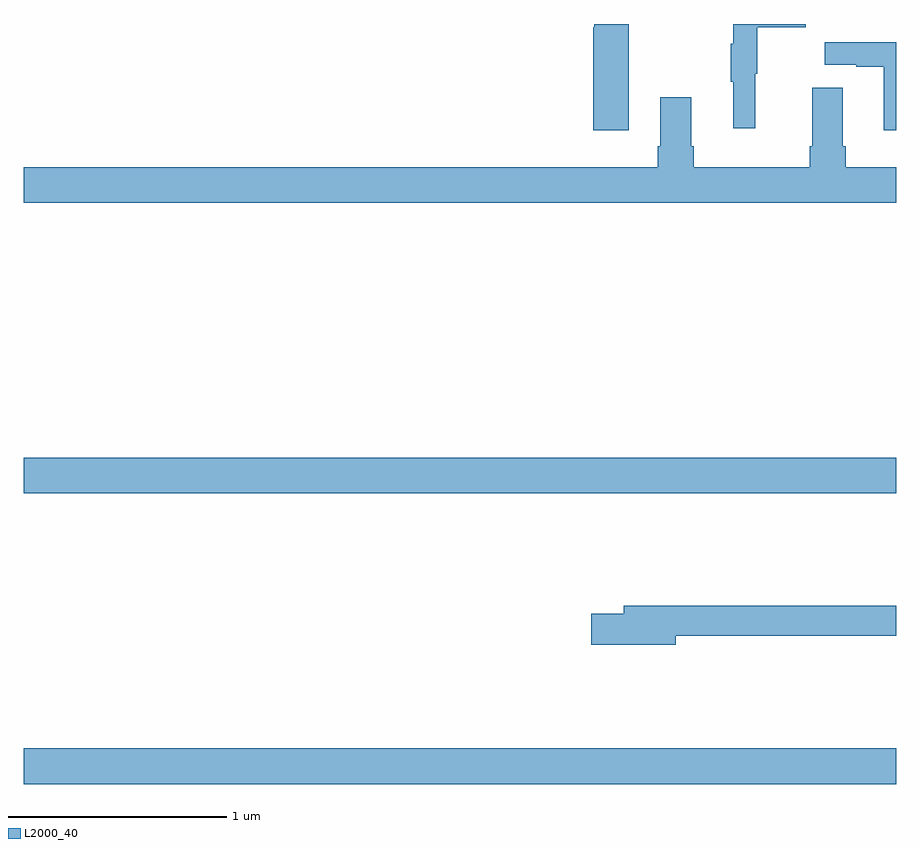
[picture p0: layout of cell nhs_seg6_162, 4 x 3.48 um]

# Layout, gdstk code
import gdstk
lib = gdstk.Library(unit=1e-6, precision=1e-09)
def R(c, l, rs):  # rectangles x0, y0, x1, y1
    for r in rs: c.add(gdstk.rectangle(r[:2], r[2:], *l))
def P(c, l, *ps):  # polygons
    for p in ps: c.add(gdstk.Polygon(p, *l))
L2000_40 = (2000, 40)

nhs_seg6_162 = lib.new_cell('nhs_seg6_162')
R(nhs_seg6_162, L2000_40, [(119,934.016,123,934.18), (119,935.348,123,935.512)])
P(nhs_seg6_162, L2000_40, [(121.774,937.5),(121.616,937.5),(121.616,937.485),(121.61,937.485),(121.61,937.014),(121.774,937.014)],
  [(122.354,937.272),(122.362,937.272),(122.362,937.486),(122.585,937.486),(122.585,937.5),(122.252,937.5),(122.252,937.409),(122.241,937.409),(122.241,937.235),(122.252,937.235),(122.252,937.023),(122.354,937.023)],
  [(123,937.417),(122.673,937.417),(122.673,937.313),(122.816,937.313),(122.816,937.303),(122.942,937.303),(122.942,937.014),(123,937.014)],
  [(123,936.844),(122.768,936.844),(122.768,936.94),(122.755,936.94),(122.755,937.207),(122.615,937.207),(122.615,936.94),(122.603,936.94),(122.603,936.844),(122.072,936.844),(122.072,936.94),(122.059,936.94),(122.059,937.165),(121.919,937.165),(121.919,936.94),(121.907,936.94),(121.907,936.844),(119,936.844),(119,936.68),(123,936.68)],
  [(121.99,934.696),(123,934.696),(123,934.832),(121.751,934.832),(121.751,934.796),(121.602,934.796),(121.602,934.654),(121.99,934.654)])

lib.write_gds('nhs_seg6_162.gds')
